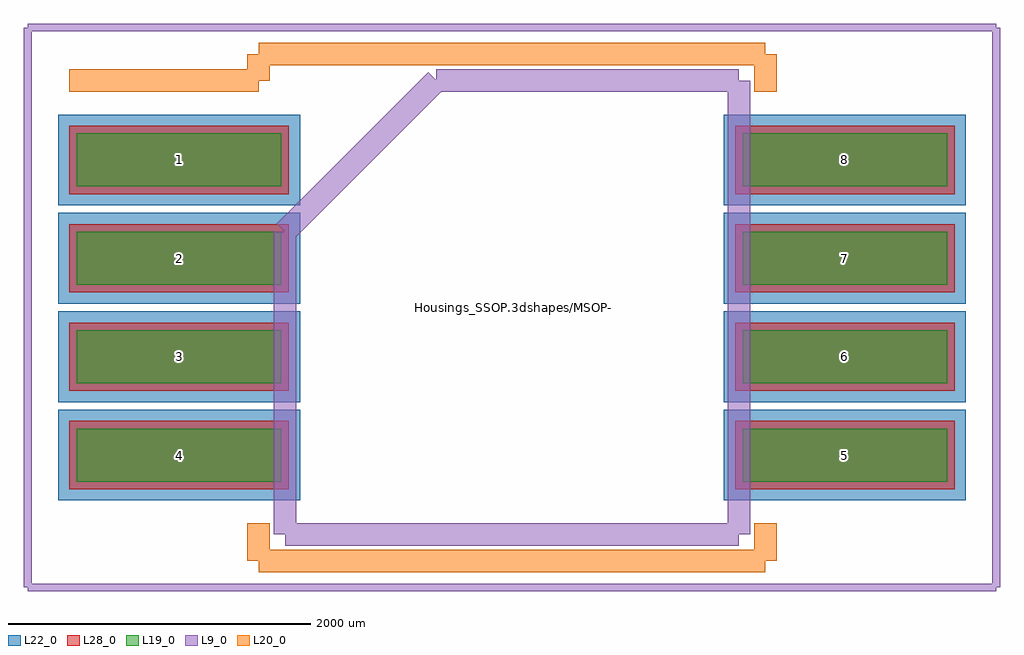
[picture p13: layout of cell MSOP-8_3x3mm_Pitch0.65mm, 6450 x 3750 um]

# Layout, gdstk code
import gdstk
lib = gdstk.Library(unit=1e-6, precision=1e-09)
def R(c, l, rs):  # rectangles x0, y0, x1, y1
    for r in rs: c.add(gdstk.rectangle(r[:2], r[2:], *l))
def A(c, l, x, y, w, h, nx, ny, dx, dy):  # array of equal rectangles
    R(c, l, [(x+i*dx, y+j*dy, x+i*dx+w, y+j*dy+h) for i in range(nx) for j in range(ny)])
L9_0 = (9, 0)
L19_0 = (19, 0)
L20_0 = (20, 0)
L22_0 = (22, 0)
L28_0 = (28, 0)

msop_8_3x3mm_pitch0_65mm = lib.new_cell('MSOP-8_3x3mm_Pitch0.65mm')
A(msop_8_3x3mm_pitch0_65mm, L19_0, -2875, -1150, 1350, 350, 1, 4, 0, 650)
A(msop_8_3x3mm_pitch0_65mm, L19_0, 1525, -1150, 1350, 350, 1, 4, 0, 650)
A(msop_8_3x3mm_pitch0_65mm, L22_0, -3000, -1275, 1600, 600, 1, 4, 0, 650)
A(msop_8_3x3mm_pitch0_65mm, L22_0, 1400, -1275, 1600, 600, 1, 4, 0, 650)
A(msop_8_3x3mm_pitch0_65mm, L28_0, -2925, -1200, 1450, 450, 1, 4, 0, 650)
A(msop_8_3x3mm_pitch0_65mm, L28_0, 1475, -1200, 1450, 450, 1, 4, 0, 650)
msop_8_3x3mm_pitch0_65mm.add(gdstk.FlexPath([(-1675,1500),(-2925,1500)], 149.998, ends="flush", simple_path=True, layer=20, datatype=0))  # L20_0
msop_8_3x3mm_pitch0_65mm.add(gdstk.FlexPath([(-1675,-1675),(1675,-1675)], 149.998, ends="flush", simple_path=True, layer=20, datatype=0))  # L20_0
msop_8_3x3mm_pitch0_65mm.add(gdstk.FlexPath([(-1675,1675),(1675,1675)], 149.998, ends="flush", simple_path=True, layer=20, datatype=0))  # L20_0
msop_8_3x3mm_pitch0_65mm.add(gdstk.FlexPath([(-1675,-1675),(-1675,-1425)], 149.998, ends="flush", simple_path=True, layer=20, datatype=0))  # L20_0
msop_8_3x3mm_pitch0_65mm.add(gdstk.FlexPath([(1675,-1675),(1675,-1425)], 149.998, ends="flush", simple_path=True, layer=20, datatype=0))  # L20_0
msop_8_3x3mm_pitch0_65mm.add(gdstk.FlexPath([(1675,1675),(1675,1425)], 149.998, ends="flush", simple_path=True, layer=20, datatype=0))  # L20_0
msop_8_3x3mm_pitch0_65mm.add(gdstk.FlexPath([(-1675,1675),(-1675,1500)], 149.998, ends="flush", simple_path=True, layer=20, datatype=0))  # L20_0
msop_8_3x3mm_pitch0_65mm.add(gdstk.FlexPath([(-3200,-1850),(3200,-1850)], 50, ends="flush", simple_path=True, layer=9, datatype=0))  # L9_0
msop_8_3x3mm_pitch0_65mm.add(gdstk.FlexPath([(-3200,1850),(3200,1850)], 50, ends="flush", simple_path=True, layer=9, datatype=0))  # L9_0
msop_8_3x3mm_pitch0_65mm.add(gdstk.FlexPath([(3200,1850),(3200,-1850)], 50, ends="flush", simple_path=True, layer=9, datatype=0))  # L9_0
msop_8_3x3mm_pitch0_65mm.add(gdstk.FlexPath([(-3200,1850),(-3200,-1850)], 50, ends="flush", simple_path=True, layer=9, datatype=0))  # L9_0
msop_8_3x3mm_pitch0_65mm.add(gdstk.FlexPath([(-1500,500),(-500,1500)], 149.998, ends="flush", simple_path=True, layer=9, datatype=0))  # L9_0
msop_8_3x3mm_pitch0_65mm.add(gdstk.FlexPath([(-1500,-1500),(-1500,500)], 149.998, ends="flush", simple_path=True, layer=9, datatype=0))  # L9_0
msop_8_3x3mm_pitch0_65mm.add(gdstk.FlexPath([(1500,-1500),(-1500,-1500)], 149.998, ends="flush", simple_path=True, layer=9, datatype=0))  # L9_0
msop_8_3x3mm_pitch0_65mm.add(gdstk.FlexPath([(1500,1500),(1500,-1500)], 149.998, ends="flush", simple_path=True, layer=9, datatype=0))  # L9_0
msop_8_3x3mm_pitch0_65mm.add(gdstk.FlexPath([(-500,1500),(1500,1500)], 149.998, ends="flush", simple_path=True, layer=9, datatype=0))  # L9_0
msop_8_3x3mm_pitch0_65mm.add(gdstk.Label('Housings_SSOP.3dshapes/MSOP-8_3x3mm_Pitch0.65mm.wrl', (0,0), layer=12, texttype=0))
msop_8_3x3mm_pitch0_65mm.add(gdstk.Label('8', (2200,975), layer=28, texttype=0))
msop_8_3x3mm_pitch0_65mm.add(gdstk.Label('7', (2200,325), layer=28, texttype=0))
msop_8_3x3mm_pitch0_65mm.add(gdstk.Label('6', (2200,-325), layer=28, texttype=0))
msop_8_3x3mm_pitch0_65mm.add(gdstk.Label('5', (2200,-975), layer=28, texttype=0))
msop_8_3x3mm_pitch0_65mm.add(gdstk.Label('4', (-2200,-975), layer=28, texttype=0))
msop_8_3x3mm_pitch0_65mm.add(gdstk.Label('3', (-2200,-325), layer=28, texttype=0))
msop_8_3x3mm_pitch0_65mm.add(gdstk.Label('2', (-2200,325), layer=28, texttype=0))
msop_8_3x3mm_pitch0_65mm.add(gdstk.Label('1', (-2200,975), layer=28, texttype=0))
msop_8_3x3mm_pitch0_65mm.add(gdstk.Label('type', (0,-2600), layer=9, texttype=0))
msop_8_3x3mm_pitch0_65mm.add(gdstk.Label('devicename', (0,2600), layer=9, texttype=0))

lib.write_gds('MSOP-8_3x3mm_Pitch0.65mm.gds')
